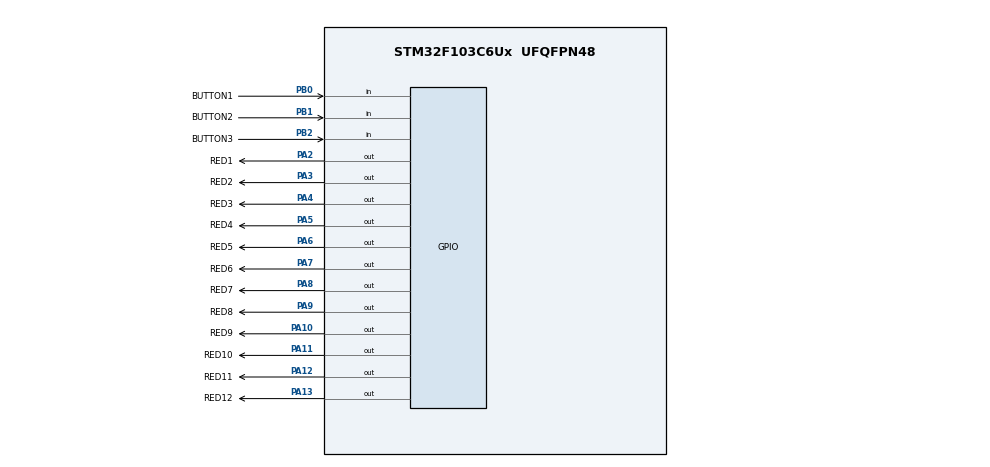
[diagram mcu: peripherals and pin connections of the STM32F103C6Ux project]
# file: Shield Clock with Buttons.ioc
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Mcu.Family=STM32F1
Mcu.Name=STM32F103C6Ux
Mcu.Package=UFQFPN48
NVIC.PriorityGroup=NVIC_PRIORITYGROUP_4
NVIC.TIM2_IRQn=true\:0\:0\:false\:false\:true\:true\:true\:true
PA10.GPIO_Label=RED9
PA10.Signal=GPIO_Output
PA11.GPIO_Label=RED10
PA11.Signal=GPIO_Output
PA12.GPIO_Label=RED11
PA12.Signal=GPIO_Output
PA13.GPIO_Label=RED12
PA13.Signal=GPIO_Output
PA2.GPIO_Label=RED1
PA2.Signal=GPIO_Output
PA3.GPIO_Label=RED2
PA3.Signal=GPIO_Output
PA4.GPIO_Label=RED3
PA4.Signal=GPIO_Output
PA5.GPIO_Label=RED4
PA5.Signal=GPIO_Output
PA6.GPIO_Label=RED5
PA6.Signal=GPIO_Output
PA7.GPIO_Label=RED6
PA7.Signal=GPIO_Output
PA8.GPIO_Label=RED7
PA8.Signal=GPIO_Output
PA9.GPIO_Label=RED8
PA9.Signal=GPIO_Output
PB0.GPIO_Label=BUTTON1
PB0.GPIO_PuPd=GPIO_PULLUP
PB0.Signal=GPIO_Input
PB1.GPIO_Label=BUTTON2
PB1.GPIO_PuPd=GPIO_PULLUP
PB1.Signal=GPIO_Input
PB2.GPIO_Label=BUTTON3
PB2.GPIO_PuPd=GPIO_PULLUP
PB2.Signal=GPIO_Input
ProjectManager.HeapSize=0x200
ProjectManager.StackSize=0x400
ProjectManager.TargetToolchain=STM32CubeIDE
RCC.APB1Freq_Value=8000000
RCC.APB2Freq_Value=8000000
TIM2.Period=9
TIM2.Prescaler=7999
VP_SYS_VS_ND.Mode=No_Debug
VP_TIM2_VS_ClockSourceINT.Mode=Internal
board=custom

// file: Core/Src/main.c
/* USER CODE BEGIN Header */
/**
  ******************************************************************************
  * @file           : main.c
  * @brief          : Main program body
  ******************************************************************************
  * @attention
  *
  * <h2><center>&copy; Copyright (c) 2022 STMicroelectronics.
  * All rights reserved.</center></h2>
  *
  * This software component is licensed by ST under BSD 3-Clause license,
  * the "License"; You may not use this file except in compliance with the
  * License. You may obtain a copy of the License at:
  *                        opensource.org/licenses/BSD-3-Clause
  *
  ******************************************************************************
  */
/* USER CODE END Header */
#include "main.h"

/* USER CODE BEGIN Includes */
#include "button.h"
#include "software_timer.h"
#include "clock_auto.h"
#include "clock_manual.h"
/* USER CODE END Includes */

TIM_HandleTypeDef htim2;

void SystemClock_Config(void);
static void MX_GPIO_Init(void);
static void MX_TIM2_Init(void);

int main(void)
{

  /* MCU Configuration--------------------------------------------------------*/

  /* Reset of all peripherals, Initializes the Flash interface and the Systick. */
  HAL_Init();

  /* Configure the system clock */
  SystemClock_Config();

  /* Initialize all configured peripherals */
  MX_GPIO_Init();
  MX_TIM2_Init();
  /* USER CODE BEGIN 2 */
<<<<<<< HEAD
  setTimer1(10);
  HAL_TIM_Base_Start(&htim2);
=======

  HAL_TIM_Base_Start_IT(&htim2);
>>>>>>> f3699c7 (add clock when push buttons, still bug)
  /* USER CODE END 2 */

  /* Infinite loop */
  /* USER CODE BEGIN WHILE */
<<<<<<< HEAD
  while (1)
  {
	  if(timer1_flag == 1){
		  clock_auto_run();
		  setTimer1(100);
	  }
	  //HAL_Delay(1000);
=======
  setTimer1(10);
  while (1)
  {

	  clock_auto_run();
	  fsm_manual_run();
>>>>>>> f3699c7 (add clock when push buttons, still bug)
    /* USER CODE END WHILE */

  }
}

void SystemClock_Config(void)
{
  RCC_OscInitTypeDef RCC_OscInitStruct = {0};
  RCC_ClkInitTypeDef RCC_ClkInitStruct = {0};

  /** Initializes the RCC Oscillators according to the specified parameters
  * in the RCC_OscInitTypeDef structure.
  */
  RCC_OscInitStruct.OscillatorType = RCC_OSCILLATORTYPE_HSI;
  RCC_OscInitStruct.HSIState = RCC_HSI_ON;
  RCC_OscInitStruct.HSICalibrationValue = RCC_HSICALIBRATION_DEFAULT;
  RCC_OscInitStruct.PLL.PLLState = RCC_PLL_NONE;
  if (HAL_RCC_OscConfig(&RCC_OscInitStruct) != HAL_OK)
  {
    Error_Handler();
  }

  /** Initializes the CPU, AHB and APB buses clocks
  */
  RCC_ClkInitStruct.ClockType = RCC_CLOCKTYPE_HCLK|RCC_CLOCKTYPE_SYSCLK
                              |RCC_CLOCKTYPE_PCLK1|RCC_CLOCKTYPE_PCLK2;
  RCC_ClkInitStruct.SYSCLKSource = RCC_SYSCLKSOURCE_HSI;
  RCC_ClkInitStruct.AHBCLKDivider = RCC_SYSCLK_DIV1;
  RCC_ClkInitStruct.APB1CLKDivider = RCC_HCLK_DIV1;
  RCC_ClkInitStruct.APB2CLKDivider = RCC_HCLK_DIV1;

  if (HAL_RCC_ClockConfig(&RCC_ClkInitStruct, FLASH_LATENCY_0) != HAL_OK)
  {
    Error_Handler();
  }
}

static void MX_TIM2_Init(void)
{

  TIM_ClockConfigTypeDef sClockSourceConfig = {0};
  TIM_MasterConfigTypeDef sMasterConfig = {0};

  htim2.Instance = TIM2;
  htim2.Init.Prescaler = 7999;
  htim2.Init.CounterMode = TIM_COUNTERMODE_UP;
  htim2.Init.Period = 9;
  htim2.Init.ClockDivision = TIM_CLOCKDIVISION_DIV1;
  htim2.Init.AutoReloadPreload = TIM_AUTORELOAD_PRELOAD_DISABLE;
  if (HAL_TIM_Base_Init(&htim2) != HAL_OK)
  {
    Error_Handler();
  }
  sClockSourceConfig.ClockSource = TIM_CLOCKSOURCE_INTERNAL;
  if (HAL_TIM_ConfigClockSource(&htim2, &sClockSourceConfig) != HAL_OK)
  {
    Error_Handler();
  }
  sMasterConfig.MasterOutputTrigger = TIM_TRGO_RESET;
  sMasterConfig.MasterSlaveMode = TIM_MASTERSLAVEMODE_DISABLE;
  if (HAL_TIMEx_MasterConfigSynchronization(&htim2, &sMasterConfig) != HAL_OK)
  {
    Error_Handler();
  }

}

static void MX_GPIO_Init(void)
{
  GPIO_InitTypeDef GPIO_InitStruct = {0};

  /* GPIO Ports Clock Enable */
  __HAL_RCC_GPIOA_CLK_ENABLE();
  __HAL_RCC_GPIOB_CLK_ENABLE();

  /*Configure GPIO pin Output Level */
  HAL_GPIO_WritePin(GPIOA, RED1_Pin|RED2_Pin|RED3_Pin|RED4_Pin
                          |RED5_Pin|RED6_Pin|RED7_Pin|RED8_Pin
                          |RED9_Pin|RED10_Pin|RED11_Pin|RED12_Pin, GPIO_PIN_RESET);

  /*Configure GPIO pins : RED1_Pin RED2_Pin RED3_Pin RED4_Pin
                           RED5_Pin RED6_Pin RED7_Pin RED8_Pin
                           RED9_Pin RED10_Pin RED11_Pin RED12_Pin */
  GPIO_InitStruct.Pin = RED1_Pin|RED2_Pin|RED3_Pin|RED4_Pin
                          |RED5_Pin|RED6_Pin|RED7_Pin|RED8_Pin
                          |RED9_Pin|RED10_Pin|RED11_Pin|RED12_Pin;
  GPIO_InitStruct.Mode = GPIO_MODE_OUTPUT_PP;
  GPIO_InitStruct.Pull = GPIO_NOPULL;
  GPIO_InitStruct.Speed = GPIO_SPEED_FREQ_LOW;
  HAL_GPIO_Init(GPIOA, &GPIO_InitStruct);

  /*Configure GPIO pins : BUTTON1_Pin BUTTON2_Pin BUTTON3_Pin */
  GPIO_InitStruct.Pin = BUTTON1_Pin|BUTTON2_Pin|BUTTON3_Pin;
  GPIO_InitStruct.Mode = GPIO_MODE_INPUT;
  GPIO_InitStruct.Pull = GPIO_PULLUP;
  HAL_GPIO_Init(GPIOB, &GPIO_InitStruct);

}

/* USER CODE BEGIN 4 */
void HAL_TIM_PeriodElapsedCallback(TIM_HandleTypeDef *htim){
	timerRun();
<<<<<<< HEAD
	//getKeyinput();
=======
	getKeyInput();
>>>>>>> f3699c7 (add clock when push buttons, still bug)
}
/* USER CODE END 4 */

void Error_Handler(void)
{
  __disable_irq();
  while (1)
  {
  }
}
